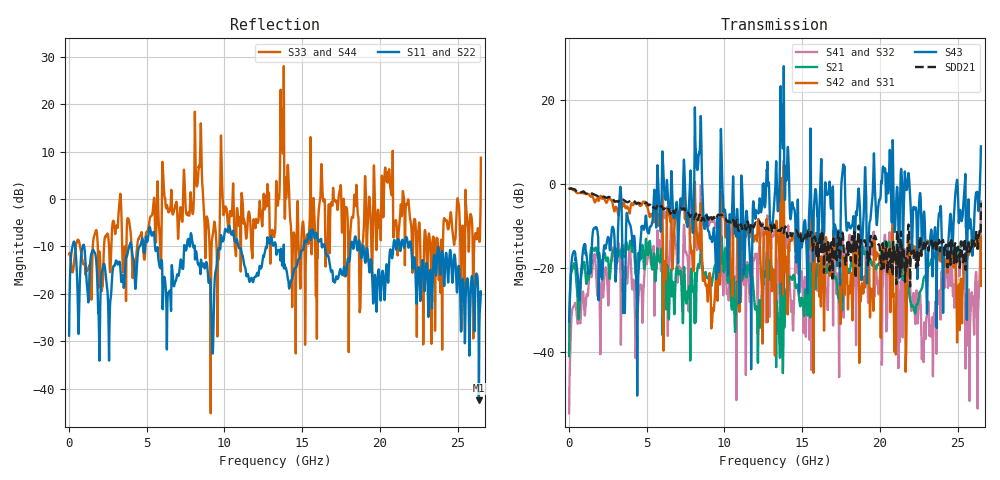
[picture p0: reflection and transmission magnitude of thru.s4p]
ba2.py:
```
import skrf as rf
import matplotlib.pyplot as plt


##### Convert 2 port S-parameters to 4 port #####

p12 = rf.Network('S21.s2p')
p13 = rf.Network('S31.s2p')
p14 = rf.Network('S41.s2p')
p23 = rf.Network('S32.s2p')
p24 = rf.Network('S42.s2p')
p34 = rf.Network('S43.s2p')

ntw_list = [p12, p13, p14, p23, p24, p34]
ntw1 = rf.n_twoports_2_nport(ntw_list, nports=4)
ntw1diff = ntw1.copy()
ntw1diff.se2gmm(p=2)

# plot differential return loss
plt.figure(figsize=(10, 5))                   
plt.subplot(1, 2, 1)
ntw1diff.s11.plot_s_db(label = 'sdd11')
plt.legend()

# plot differential insertion loss
plt.subplot(1, 2, 2)
ntw1diff.s21.plot_s_db(label = 'sdd21')
plt.legend()

# save 4-port S-parameters
ntw1.write_touchstone('2xthru.s4p')

##### Split into 2 halves #####

mm_dm = rf.IEEEP370_MM_NZC_2xThru(dummy_2xthru = ntw1, z0 = 50, name = '2xthru')

fix1 = mm_dm.se_side1
fix1.name = 'thru'
mm_side1 = fix1.copy()
mm_side1.se2gmm(p = 2)

# plot differential return loss of one half
plt.figure(figsize=(10, 5))                   
plt.subplot(1, 2, 1)
mm_side1.s11.plot_s_db(label = 'sdd11')
plt.legend()

# plot differential insertion loss of one half
plt.subplot(1, 2, 2)
mm_side1.s21.plot_s_db(label = 'sdd21')
plt.legend()

# save 4-port S-parameters of one half
fix1.write_touchstone('thru.s4p')

##### Add cable to port 1 and port2 #####

freq = fix1.frequency
p1 = rf.Circuit.Port(freq, name='port1', z0=50)
p2 = rf.Circuit.Port(freq, name='port2', z0=50)
p3 = rf.Circuit.Port(freq, name='port3', z0=50)
p4 = rf.Circuit.Port(freq, name='port4', z0=50)

cable1 = rf.Network('cable.s2p',name='cable1')
cable2 = rf.Network('cable.s2p',name='cable2')

fixture = rf.Circuit([[(p1,0),(cable1,0)],[(cable1,1),(fix1,0)],
                  [(p2,0),(cable2,0)],[(cable2,1),(fix1,1)],
                  [(p3,0),(fix1,2)],[(p4,0),(fix1,3)]
                  ]).network

mm_fixture = fixture.copy()
mm_fixture.se2gmm(p = 2)

# plot differential return loss of final fixture
plt.figure(figsize=(10, 5))                   
plt.subplot(1, 2, 1)
mm_fixture.s11.plot_s_db(label = 'sdd11')
plt.legend()

# plot differential insertion loss of final fixture
plt.subplot(1, 2, 2)
mm_fixture.s21.plot_s_db(label = 'sdd21')
plt.legend()

# save 4-port S-parameters of final fixture
fixture.write_touchstone('fixture.s4p')
```
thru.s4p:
! Created with skrf (http://scikit-rf.org).
# Hz S RI R 50.0
!freq ReS11 ImS11 ReS12 ImS12 ReS13 ImS13
! ReS14 ImS14
! ReS21 ImS21 ReS22 ImS22 ReS23 ImS23
! ReS24 ImS24
! ReS31 ImS31 ReS32 ImS32 ReS33 ImS33
! ReS34 ImS34
! ReS41 ImS41 ReS42 ImS42 ReS43 ImS43
! ReS44 ImS44
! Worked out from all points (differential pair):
!   2650 points, 10 MHz to 26.5 GHz, reference 50 ohm
!   strongest paths, dB at 10 MHz, 6.63 GHz, 13.26 GHz, 19.88 GHz, 26.5 GHz:
!     S43: -32.7, -1.1, -1.8, -6.1, 8.9
!     S42: -1.1, -16.5, -34.4, -16.6, -24.2
!     S31: -1.1, -16.5, -34.4, -16.6, -24.2
!     S21: -40.9, -24.9, -23.5, -19.2, -13.3
!     S41: -54.5, -3.9, -10.2, -25.2, -4.2
!     S32: -54.5, -3.9, -10.2, -25.2, -4.2
!   taken as a pair (ports 2,1 in; 4,3 out), SDD21 dB: -1.1, -6.1, -10.4, -14.3, -4.5
!   lowest |S11| = -42.4 dB at 26.37 GHz (marker M1), VSWR 1.02, Z = 50.7 - j0.168 ohm
!   |S11| at or under -10 dB: 980.5 MHz to 3.882 GHz (2.902 GHz wide, 119 % of centre); 18.94 GHz to 20.87 GHz (1.923 GHz wide, 9.66 % of centre); 22.02 GHz to end of sweep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
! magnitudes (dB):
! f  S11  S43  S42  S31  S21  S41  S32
! 10 MHz  -28.8  -32.7  -1.1  -1.1  -40.9  -54.5  -54.5
! 26.37 GHz  -42.4  -6.1  -14.1  -14.1  -14.0  -26.5  -26.5
! 26.5 GHz  -20.1  8.9  -24.2  -24.2  -13.3  -4.2  -4.2
